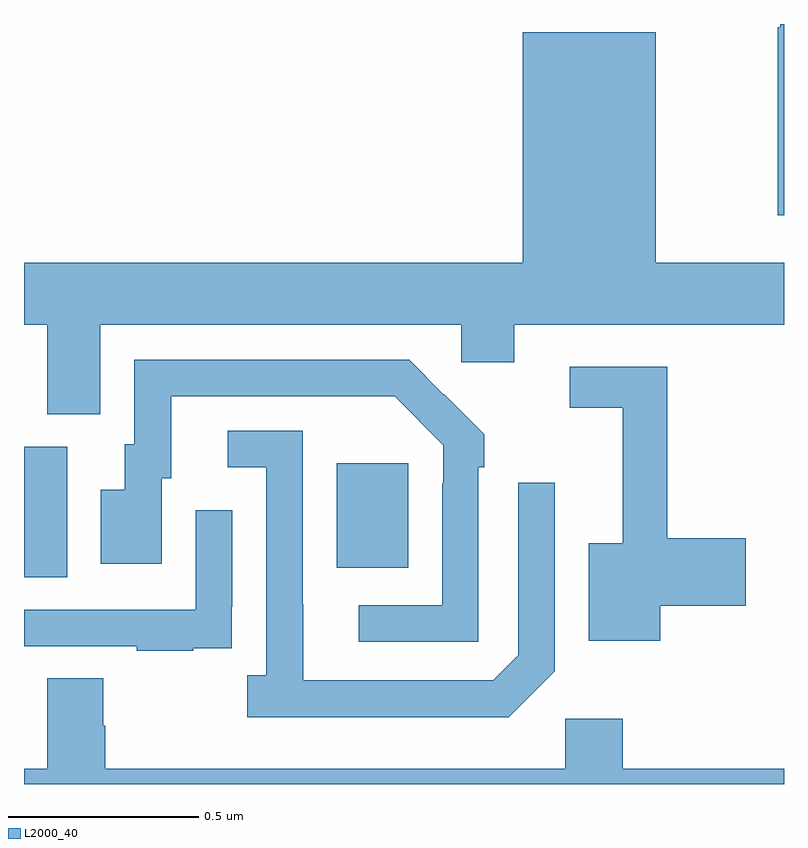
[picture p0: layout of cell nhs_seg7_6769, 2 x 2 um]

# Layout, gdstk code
import gdstk
lib = gdstk.Library(unit=1e-6, precision=1e-09)
def R(c, l, rs):  # rectangles x0, y0, x1, y1
    for r in rs: c.add(gdstk.rectangle(r[:2], r[2:], *l))
def P(c, l, *ps):  # polygons
    for p in ps: c.add(gdstk.Polygon(p, *l))
L2000_40 = (2000, 40)

nhs_seg7_6769 = lib.new_cell('nhs_seg7_6769')
R(nhs_seg7_6769, L2000_40, [(202,1074.544,202.114,1074.888), (202.823,1074.569,203.011,1074.844)])
P(nhs_seg7_6769, L2000_40, [(204,1076),(203.99,1076),(203.99,1075.991),(203.983,1075.991),(203.983,1075.497),(204,1075.497)],
  [(202.201,1075.208),(203.151,1075.208),(203.151,1075.11),(203.29,1075.11),(203.29,1075.208),(204,1075.208),(204,1075.372),(203.662,1075.372),(203.662,1075.978),(203.312,1075.978),(203.312,1075.372),(202,1075.372),(202,1075.208),(202.061,1075.208),(202.061,1074.973),(202.201,1074.973)],
  [(203.196,1074.833),(203.211,1074.833),(203.211,1074.921),(203.106,1075.026),(203.105,1075.025),(203.014,1075.116),(202.29,1075.116),(202.29,1074.894),(202.265,1074.894),(202.265,1074.775),(202.202,1074.775),(202.202,1074.579),(202.363,1074.579),(202.363,1074.804),(202.387,1074.804),(202.387,1075.02),(202.975,1075.02),(203.103,1074.891),(203.103,1074.791),(203.1,1074.791),(203.1,1074.471),(202.881,1074.471),(202.881,1074.375),(203.196,1074.375)],
  [(203.674,1074.469),(203.899,1074.469),(203.899,1074.647),(203.693,1074.647),(203.693,1075.098),(203.436,1075.098),(203.436,1074.99),(203.576,1074.99),(203.576,1074.634),(203.486,1074.634),(203.486,1074.377),(203.674,1074.377)],
  [(203.397,1074.297),(203.397,1074.793),(203.301,1074.793),(203.301,1074.339),(203.235,1074.273),(202.735,1074.273),(202.735,1074.473),(202.734,1074.473),(202.734,1074.93),(202.536,1074.93),(202.536,1074.834),(202.638,1074.834),(202.638,1074.286),(202.587,1074.286),(202.587,1074.176),(203.276,1074.176)],
  [(202.445,1074.357),(202.547,1074.357),(202.547,1074.466),(202.548,1074.466),(202.548,1074.721),(202.452,1074.721),(202.452,1074.459),(202,1074.459),(202,1074.363),(202.297,1074.363),(202.297,1074.351),(202.445,1074.351)],
  [(204,1074.04),(203.576,1074.04),(203.576,1074.172),(203.424,1074.172),(203.424,1074.04),(202.214,1074.04),(202.214,1074.153),(202.209,1074.153),(202.209,1074.278),(202.061,1074.278),(202.061,1074.04),(202,1074.04),(202,1074),(204,1074)])

lib.write_gds('nhs_seg7_6769.gds')
